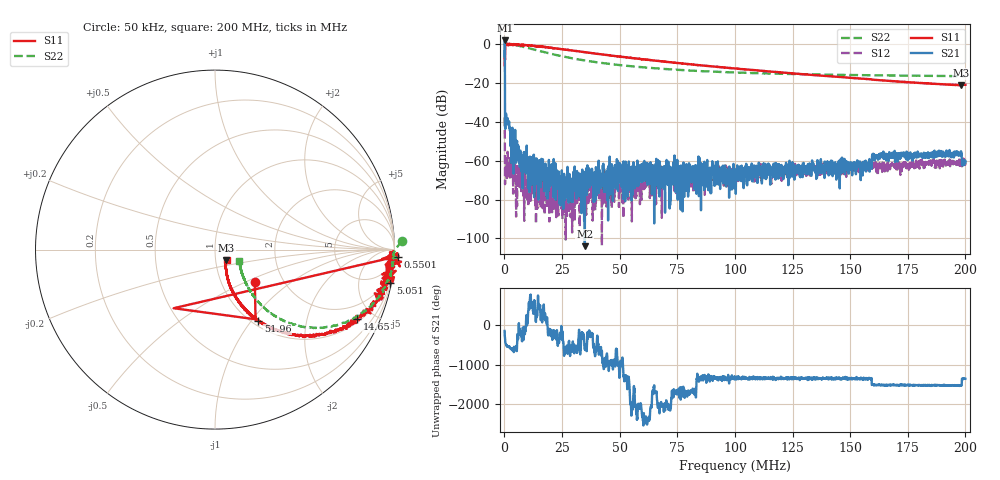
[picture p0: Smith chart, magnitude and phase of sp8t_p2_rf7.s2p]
! 26-Feb-26 11:36:23 AM
! E:\VNA_MEASUREMENTS\SP8T\SP8T_P2_RF7.S2P
! CHANNEL.1
! TR.MEASUREMENT
! CORRECTED.DATA
# GHZ S RI R 50.0
! FREQ.GHZ  S11RE  S11IM  S21RE  S21IM  S12RE  S12IM  S22RE  S22IM
!; PortSelection: Port_12
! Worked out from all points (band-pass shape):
!   2000 points, 50 kHz to 200 MHz, reference 50 ohm
!   highest |S21| = 1.94 dB at 150 kHz (marker M1); lowest = -104.0 dB at 34.86 MHz (marker M2)
!   |S21| within 3 dB of the highest: 113.7 kHz to 156.8 kHz (43.04 kHz wide, 31.8 % of centre)
!   lowest |S11| = -21.2 dB at 198.1 MHz (marker M3), VSWR 1.19, Z = 56.3 - j6.88 ohm
!   |S11| at or under -10 dB: start of sweep to 72.5 kHz; 77.26414 MHz to 77.28613 MHz (21.99 kHz wide, 0.0285 % of centre); 77.96 MHz to end of sweep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
!   |S22| runs from -16.5 to 0.4 dB; largest |S21 - S12| = 1.2
!   S11 on the Smith chart (normalised r, x): 50 kHz: 1.44, -0.56; 550.1 kHz: -18, -41; 5.051 MHz: 0, -10; 14.65 MHz: 1.15, -3.99; 51.96 MHz: 1.07, -1.08; 200 MHz: 1.13, -0.14
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5e-05  0.222 -0.1797  -0.3687 -0.312  -0.013 -0.000469  1.044 0.0506
0.000150025  0.2258 -0.3883  0.2657 1.222  0.00326 0.00114  1.005 0.00269
0.000550125  1.017 -0.0419  -0.00341 -0.0111  0.000329 0.00018  0.991 -0.0387
0.0012503  0.9815 -0.0226  -0.0102 -0.000673  0.000824 0.000704  0.9938 -0.0855
0.003550875  0.9313 -0.1378  0.00118 0.00457  -0.000163 0.000327  0.9445 -0.2142
0.005051251  0.9761 -0.1879  -0.00303 -0.000719  -1.07e-05 3.49e-05  0.8965 -0.2793
0.007251801  0.9372 -0.2197  -0.00064 0.000108  -0.000113 -0.00012  0.8043 -0.3622
0.01465365  0.7909 -0.3879  -2.73e-05 -9.55e-05  0.00036 -0.000307  0.5287 -0.4346
0.02615653  0.5481 -0.4726  -0.000152 0.000307  -6.73e-05 8.02e-05  0.312 -0.3559
0.03345835  0.4311 -0.4724  3.5e-05 2.81e-05  -9.75e-05 -1.22e-05  0.2524 -0.3029
0.0348587  0.4144 -0.4698  -4.1e-06 4.8e-06  -3.81e-05 4.84e-05  0.2437 -0.2942
0.03955988  0.3524 -0.4516  -5.46e-05 0.000304  -2.29e-05 0.000224  0.2217 -0.2671
0.05196298  0.242 -0.3968  0.000213 3.98e-05  -0.000119 0.000543  0.1863 -0.2136
0.06676668  0.1682 -0.33  -0.000365 0.000522  -0.000199 0.000137  0.1646 -0.1699
0.06946736  0.1538 -0.3195  -0.000558 0.000128  0.000112 0.000503  0.1624 -0.1636
0.100075  0.0915 -0.2201  -0.000211 0.000513  -0.000117 0.000352  0.1461 -0.1173
0.1333833  0.0677 -0.147  0.000171 0.000592  0.000112 0.000542  0.1404 -0.0913
0.1554889  0.0636 -0.1122  0.000255 0.000543  0.000257 0.000641  0.1385 -0.08
0.1604901  0.0599 -0.106  0.00023 -0.00128  0.000275 0.000712  0.1379 -0.078
0.1666917  0.0596 -0.0975  0.000139 -0.000973  0.000117 0.000684  0.1378 -0.0757
0.1980995  0.063 -0.0607  -0.000194 -0.00175  6.55e-05 0.000882  0.1365 -0.0648
0.2  0.0671 -0.0602  0.000222 0.000939  0.000415 0.00104  0.1362 -0.0643
